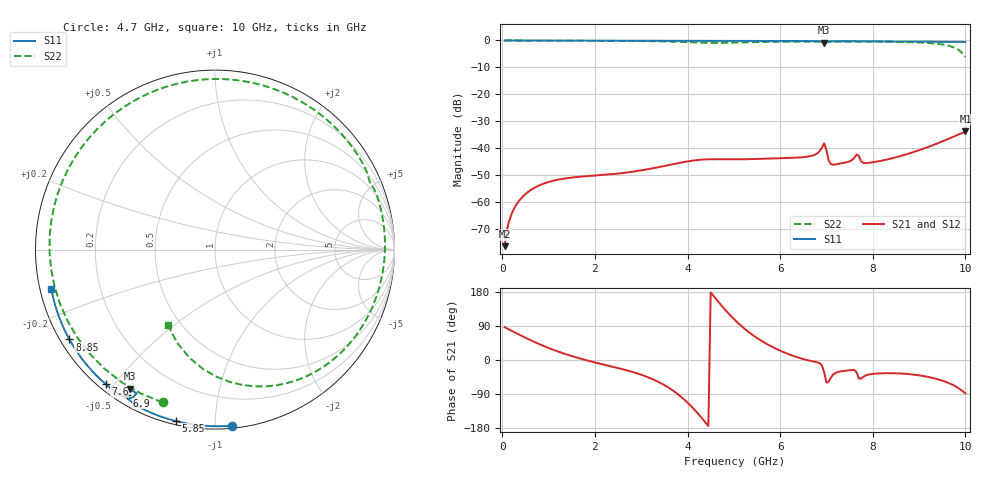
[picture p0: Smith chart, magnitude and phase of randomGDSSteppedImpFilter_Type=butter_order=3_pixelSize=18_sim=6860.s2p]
! freq	dB(S11)	phase(S11)	dB(S12)	phase(S12)
!  dB(S21)	phase(S21)	dB(S22)	phase(S22)
!S-par simulation data
#  GHz  S  DB  R 50
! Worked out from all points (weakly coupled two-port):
!   200 points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, 50 MHz to 10 GHz, reference 50 ohm
!   highest |S21| = -33.63 dB at 10 GHz (marker M1); lowest = -76.4 dB at 50 MHz (marker M2)
!   lowest |S11| = -0.8 dB at 6.95 GHz (marker M3), VSWR 20.97, Z = 3.13 - j27.9 ohm
!   |S11| at or under -10 dB: nowhere
!   |S22| runs from -6.1 to 0.0 dB; largest |S21 - S12| = 0
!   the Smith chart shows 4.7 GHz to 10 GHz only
!   S11 on the Smith chart (normalised r, x): 4.7 GHz: 0.02, -1.10; 5.85 GHz: 0.02, -0.80; 6.9 GHz: 0.03, -0.56; 7.6 GHz: 0.02, -0.48; 8.85 GHz: 0.03, -0.28; 10 GHz: 0.03, -0.12
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0.05  -0.00 -1.0  -76.44 86.8  -76.44 86.8  -0.00 -5.6
0.15  -0.00 -2.9  -66.96 80.3  -66.96 80.3  -0.02 -16.5
0.3  -0.01 -5.7  -61.12 70.8  -61.12 70.8  -0.05 -32.7
0.8  -0.02 -15.2  -53.84 41.9  -53.84 41.9  -0.10 -82.5
1.75  -0.04 -33.0  -50.52 1.4  -50.52 1.4  -0.14 -157.1
2.55  -0.06 -47.6  -49.37 -22.8  -49.37 -22.8  -0.19 149.9
3.4  -0.08 -62.6  -46.99 -59.6  -46.99 -59.6  -0.33 84.5
3.75  -0.09 -68.6  -45.76 -86.4  -45.76 -86.4  -0.48 47.0
4.1  -0.10 -74.5  -44.68 -124.6  -44.68 -124.6  -0.71 -2.7
4.45  -0.12 -80.3  -44.15 -174.1  -44.15 -174.1  -0.91 -64.4
4.7  -0.13 -84.5  -44.13 148.5  -44.13 148.5  -0.91 -108.9
5.05  -0.14 -90.1  -44.18 102.3  -44.18 102.3  -0.77 -160.9
5.85  -0.18 -102.9  -43.85 33.4  -43.85 33.4  -0.51 122.8
6.7  -0.24 -116.7  -42.78 -3.4  -42.78 -3.4  -0.42 70.7
6.9  -0.45 -121.2  -39.84 -13.7  -39.84 -13.7  -0.41 60.3
6.95  -0.83 -121.6  -38.28 -31.9  -38.28 -31.9  -0.41 57.8
7.1  -0.36 -120.4  -46.00 -45.3  -46.00 -45.3  -0.40 50.3
7.6  -0.30 -129.2  -43.69 -26.4  -43.69 -26.4  -0.45 26.6
8.35  -0.37 -140.7  -44.08 -34.8  -44.08 -34.8  -0.50 -5.5
8.85  -0.42 -148.3  -41.64 -38.1  -41.64 -38.1  -0.68 -27.3
9.65  -0.51 -160.8  -36.43 -61.3  -36.43 -61.3  -2.01 -73.9
10  -0.56 -166.3  -33.63 -88.2  -33.63 -88.2  -6.11 -122.2
